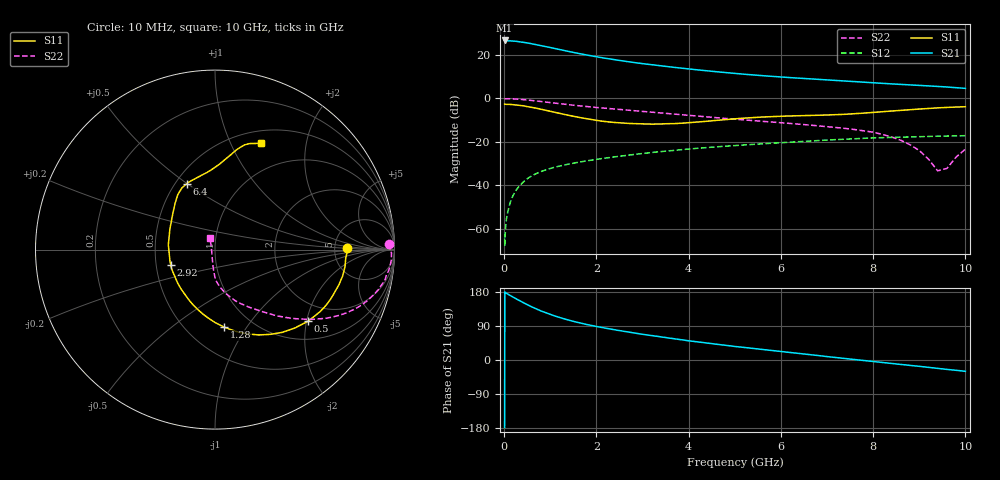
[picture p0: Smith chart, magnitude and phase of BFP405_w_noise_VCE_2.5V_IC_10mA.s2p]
! Infineon Technologies  Discrete & RF Semiconductors
! BFP405
! VCE =  2.5 V,  IC =  10 mA
! Common Emitter S-Parameters:  Jan 2016
# GHz  S  MA  R  50
!  f  S11  S21  S12  S22
! GHz  MAG  ANG  MAG  ANG  MAG  ANG  MAG  ANG
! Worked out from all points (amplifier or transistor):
!   233 points, 10 MHz to 10 GHz, reference 50 ohm
!   highest |S21| = 26.7 dB at 10 MHz (marker M1)
!   |S21| within 3 dB of that: start of sweep to 943 MHz
!   unconditionally stable (mu >= 1): start of sweep to 17.55 MHz; 2.601 GHz to end of sweep
!   at 200 MHz: K = 0.15, MSG = 35.4 dB, |S12| = -44.4 dB
!   at 1.74 GHz: K = 0.77, MSG = 24.5 dB, |S12| = -28.9 dB
!   at 10 GHz: K = 1.38, MAG = 7.2 dB, |S12| = -17.1 dB
!   lowest NFmin = 1.62 dB at 900 MHz
!   S11 on the Smith chart (normalised r, x): 10 MHz: 6.58, +0.22; 500 MHz: 1.46, -2.03; 1.28 GHz: 0.75, -0.79; 2.92 GHz: 0.60, -0.11; 6.4 GHz: 0.57, +0.50; 10 GHz: 0.65, +1.31
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0.01  0.7365 0.6  21.52 -178.1  0.0006 0.7  0.9706 1.9
0.02  0.7366 -1.1  21.39 177.6  0.0007 100.6  0.9779 0.0
0.08  0.7299 -6.0  21.14 173.9  0.0025 84.0  0.9839 -2.3
0.24  0.7103 -18.6  20.68 162.7  0.0072 81.5  0.9674 -8.1
0.4  0.6797 -30.6  19.7 152.1  0.0116 76.6  0.942 -13.0
0.5  0.6535 -37.7  18.95 145.9  0.0142 73.8  0.9204 -15.8
0.6  0.6239 -44.4  18.09 140.0  0.0166 71.3  0.8969 -18.4
0.8  0.5632 -57.0  16.43 129.4  0.0208 67.1  0.8473 -23.0
1  0.5057 -68.4  14.79 120.2  0.0245 63.9  0.7994 -26.7
1.28  0.4341 -83.2  12.78 109.4  0.0291 60.6  0.7389 -30.9
1.5  0.3882 -94.4  11.43 102.0  0.0324 58.7  0.6971 -33.6
1.68  0.3566 -103.2  10.49 96.8  0.035 57.3  0.6669 -35.6
2.2  0.2937 -128.4  8.36 83.9  0.0425 54.3  0.5942 -40.4
2.92  0.2607 -161.3  6.477 69.4  0.0529 50.2  0.5129 -46.3
3.4  0.2582 178.2  5.609 61.0  0.0599 47.2  0.4634 -50.1
4  0.2761 155.5  4.759 50.7  0.0686 43.0  0.4075 -55.4
5.1  0.3462 129.3  3.678 34.5  0.0838 35.0  0.3263 -65.5
6.4  0.4 113.0  2.919 17.2  0.1016 25.6  0.2554 -75.5
6.8  0.4094 106.4  2.739 11.9  0.1074 22.4  0.2345 -78.6
8.4  0.5129 82.8  2.157 -9.2  0.1271 8.0  0.1298 -92.4
9.4  0.6065 74.2  1.89 -22.1  0.1352 -0.5  0.0216 -147.3
10  0.6448 66.7  1.702 -29.9  0.139 -4.9  0.0681 113.5
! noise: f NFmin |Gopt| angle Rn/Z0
0.9  1.62  0.2  6  0.32
1.8  1.88  0.14  1  0.29
2.4  2  0.12  4  0.31
3  2.03  0.08  20  0.29
4  2.19  0.05  -72  0.28
5  2.56  0.11  -98  0.28
